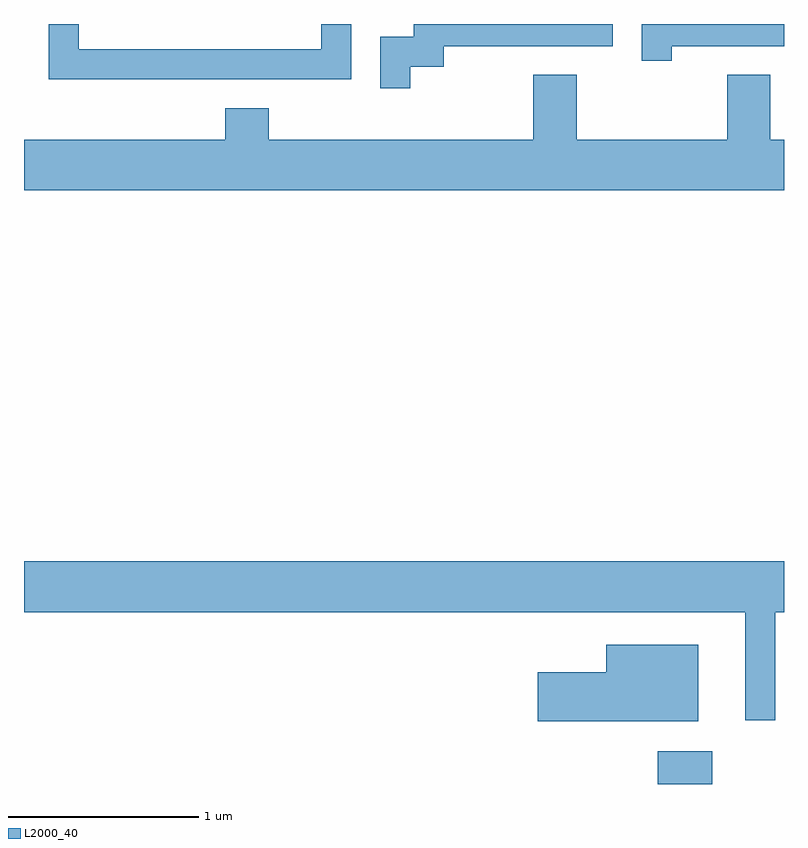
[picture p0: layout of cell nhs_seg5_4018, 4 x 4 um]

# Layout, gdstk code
import gdstk
lib = gdstk.Library(unit=1e-6, precision=1e-09)
def R(c, l, rs):  # rectangles x0, y0, x1, y1
    for r in rs: c.add(gdstk.rectangle(r[:2], r[2:], *l))
def P(c, l, *ps):  # polygons
    for p in ps: c.add(gdstk.Polygon(p, *l))
L2000_40 = (2000, 40)

nhs_seg5_4018 = lib.new_cell('nhs_seg5_4018')
R(nhs_seg5_4018, L2000_40, [(306.946,1498.072,307.234,1498.244)])
P(nhs_seg5_4018, L2000_40, [(307.019,1501.956),(307.611,1501.956),(307.611,1502.072),(306.861,1502.072),(306.861,1501.878),(307.019,1501.878)],
  [(305.644,1501.846),(305.819,1501.846),(305.819,1501.956),(306.709,1501.956),(306.709,1502.072),(305.661,1502.072),(305.661,1502.004),(305.486,1502.004),(305.486,1501.733),(305.644,1501.733)],
  [(305.334,1502.072),(305.176,1502.072),(305.176,1501.939),(303.899,1501.939),(303.899,1502.072),(303.741,1502.072),(303.741,1501.781),(305.334,1501.781)],
  [(307.611,1501.464),(307.539,1501.464),(307.539,1501.804),(307.311,1501.804),(307.311,1501.464),(306.519,1501.464),(306.519,1501.804),(306.291,1501.804),(306.291,1501.464),(304.899,1501.464),(304.899,1501.629),(304.671,1501.629),(304.671,1501.464),(303.611,1501.464),(303.611,1501.196),(307.611,1501.196)],
  [(307.564,1498.976),(307.611,1498.976),(307.611,1499.244),(303.611,1499.244),(303.611,1498.976),(307.406,1498.976),(307.406,1498.408),(307.564,1498.408)],
  [(307.159,1498.804),(306.676,1498.804),(306.676,1498.659),(306.316,1498.659),(306.316,1498.401),(307.159,1498.401)])

lib.write_gds('nhs_seg5_4018.gds')
